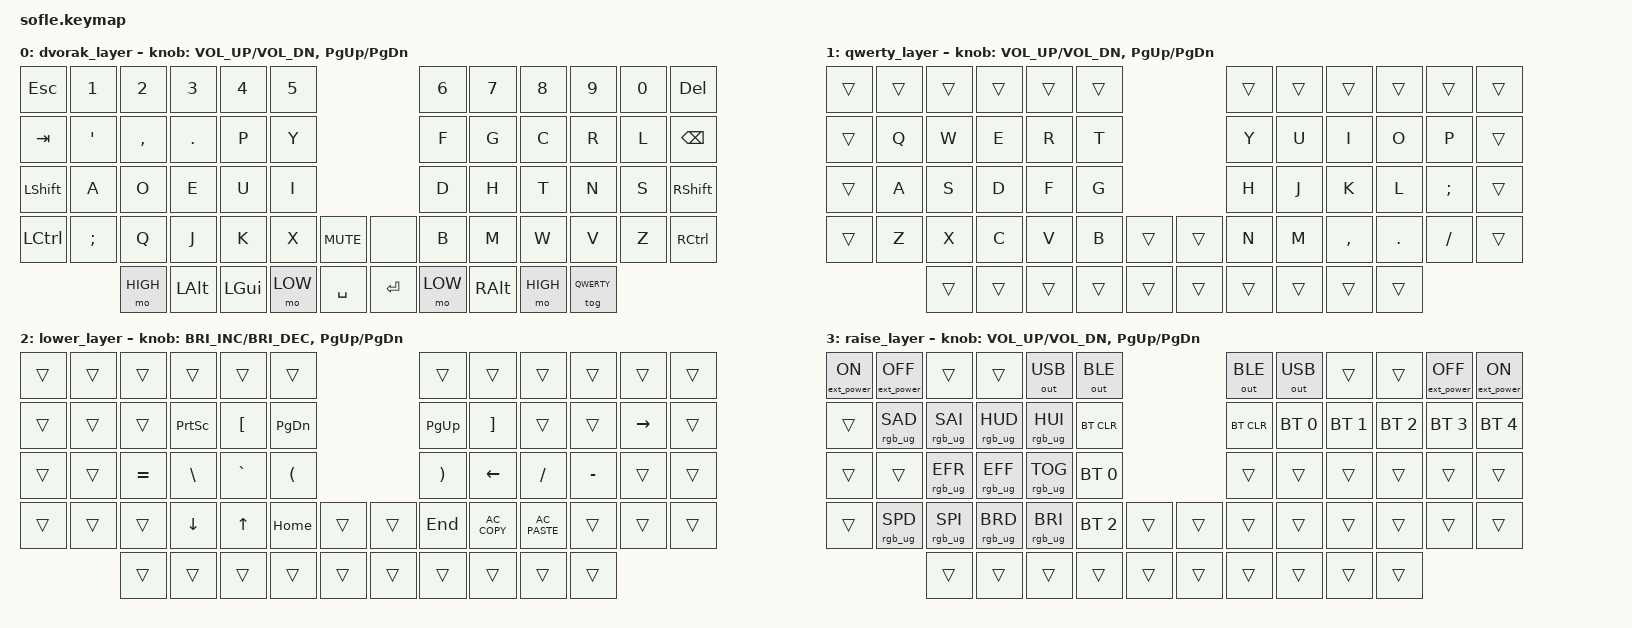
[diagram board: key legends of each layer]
/*
 * Copyright (c) 2020 The ZMK Contributors
 *
 * SPDX-License-Identifier: MIT
 */

#include <behaviors.dtsi>
#include <dt-bindings/zmk/keys.h>
#include <dt-bindings/zmk/bt.h>
#include <dt-bindings/zmk/rgb.h>
#include <dt-bindings/zmk/outputs.h>
#include <dt-bindings/zmk/ext_power.h>

#define DVORAK 0
#define QWERTY 1
#define LOW 2
#define HIGH 3

#define CPY C_AC_COPY
#define PST C_AC_PASTE

/ {
    keymap {
        compatible = "zmk,keymap";

        dvorak_layer {
            bindings = <
// ---------------------------------------------------------------------------------------------------------------------------------------
&kp ESC    &kp N1   &kp N2    &kp N3   &kp N4    &kp N5                           &kp N6   &kp N7    &kp N8    &kp N9   &kp N0   &kp DEL
// ---------------------------------------------------------------------------------------------------------------------------------------
&kp TAB    &kp SQT  &kp COMMA &kp DOT  &kp P     &kp Y                            &kp F    &kp G     &kp C     &kp R    &kp L    &kp BSPC
// ---------------------------------------------------------------------------------------------------------------------------------------
&kp LSHIFT &kp A    &kp O     &kp E    &kp U     &kp I                            &kp D    &kp H     &kp T     &kp N    &kp S    &kp RSHFT
// ---------------------------------------------------------------------------------------------------------------------------------------
&kp LCTRL  &kp SEMI &kp Q     &kp J    &kp K     &kp X   &kp C_MUTE       &none   &kp B    &kp M     &kp W     &kp V    &kp Z    &kp RCTL
// ---------------------------------------------------------------------------------------------------------------------------------------
                    &mo HIGH  &kp LALT &kp LGUI  &mo LOW &kp SPACE        &kp RET &mo LOW  &kp RALT  &mo HIGH  &tog QWERTY
//                  ------------------------------------------------------------------------------------------------------
            >;

            sensor-bindings = <&inc_dec_kp C_VOL_UP C_VOL_DN &inc_dec_kp PG_UP PG_DN>;
        };

        qwerty_layer {
            bindings = <
// ---------------------------------------------------------------------------------------------------------------------------------------
&trans    &trans   &trans    &trans   &trans    &trans                           &trans   &trans    &trans    &trans   &trans   &trans
// ---------------------------------------------------------------------------------------------------------------------------------------
&trans    &kp Q    &kp W     &kp E    &kp R     &kp T                            &kp Y    &kp U     &kp I     &kp O    &kp P    &trans
// ---------------------------------------------------------------------------------------------------------------------------------------
&trans    &kp A    &kp S     &kp D    &kp F     &kp G                            &kp H    &kp J     &kp K     &kp L    &kp SEMI &trans
// ---------------------------------------------------------------------------------------------------------------------------------------
&trans    &kp Z    &kp X     &kp C    &kp V     &kp B   &trans           &trans  &kp N    &kp M     &kp COMMA &kp DOT  &kp FSLH &trans
// ---------------------------------------------------------------------------------------------------------------------------------------
                   &trans    &trans   &trans    &trans  &trans           &trans  &trans   &trans    &trans    &trans
//                 ---------------------------------------------------------------------------------------------------
            >;

            sensor-bindings = <&inc_dec_kp C_VOL_UP C_VOL_DN &inc_dec_kp PG_UP PG_DN>;
        };

        lower_layer {
            bindings = <
// ---------------------------------------------------------------------------------------------------------------------------------------
&trans    &trans    &trans    &trans      &trans    &trans                         &trans    &trans   &trans    &trans    &trans    &trans
// ---------------------------------------------------------------------------------------------------------------------------------------
&trans    &trans    &trans    &kp PSCRN   &kp LBKT  &kp PG_DN                      &kp PG_UP &kp RBKT &trans    &trans    &kp RIGHT &trans
// ---------------------------------------------------------------------------------------------------------------------------------------
&trans    &trans    &kp EQUAL &kp BSLH    &kp GRAVE &kp LPAR                       &kp RPAR  &kp LEFT &kp FSLH  &kp MINUS &trans    &trans
// ---------------------------------------------------------------------------------------------------------------------------------------
&trans    &trans    &trans    &kp DOWN    &kp UP    &kp HOME &trans       &trans   &kp END   &kp CPY  &kp PST   &trans    &trans    &trans
// ---------------------------------------------------------------------------------------------------------------------------------------
                    &trans    &trans      &trans    &trans   &trans       &trans   &trans    &trans   &trans    &trans
//                  ---------------------------------------------------------------------------------------------------
            >;

            sensor-bindings = <&inc_dec_kp C_BRI_INC C_BRI_DEC &inc_dec_kp PG_UP PG_DN>;
        };

        raise_layer {
            bindings = <
// ---------------------------------------------------------------------------------------------------------------------------------------------------------------------------------------------------------
&ext_power EP_ON &ext_power EP_OFF &trans            &trans           &out OUT_USB     &out OUT_BLE                   &out OUT_BLE &out OUT_USB &trans       &trans       &ext_power EP_OFF &ext_power EP_ON
// ---------------------------------------------------------------------------------------------------------------------------------------------------------------------------------------------------------
&trans           &rgb_ug RGB_SAD   &rgb_ug RGB_SAI   &rgb_ug RGB_HUD  &rgb_ug RGB_HUI  &bt BT_CLR                     &bt BT_CLR   &bt BT_SEL 0 &bt BT_SEL 1 &bt BT_SEL 2 &bt BT_SEL 3      &bt BT_SEL 4
// ---------------------------------------------------------------------------------------------------------------------------------------------------------------------------------------------------------
&trans           &trans            &rgb_ug RGB_EFR   &rgb_ug RGB_EFF  &rgb_ug RGB_TOG  &bt BT_SEL 0                   &trans       &trans       &trans       &trans       &trans            &trans
// ---------------------------------------------------------------------------------------------------------------------------------------------------------------------------------------------------------
&trans           &rgb_ug RGB_SPD   &rgb_ug RGB_SPI   &rgb_ug RGB_BRD  &rgb_ug RGB_BRI  &bt BT_SEL 2 &trans    &trans  &trans       &trans       &trans       &trans       &trans            &trans
// ---------------------------------------------------------------------------------------------------------------------------------------------------------------------------------------------------------
                                   &trans            &trans           &trans           &trans       &trans    &trans  &trans       &trans       &trans       &trans
//                                 --------------------------------------------------------------------------------------------------------------------------------
            >;

            sensor-bindings = <&inc_dec_kp C_VOL_UP C_VOL_DN &inc_dec_kp PG_UP PG_DN>;
        };
    };
};
